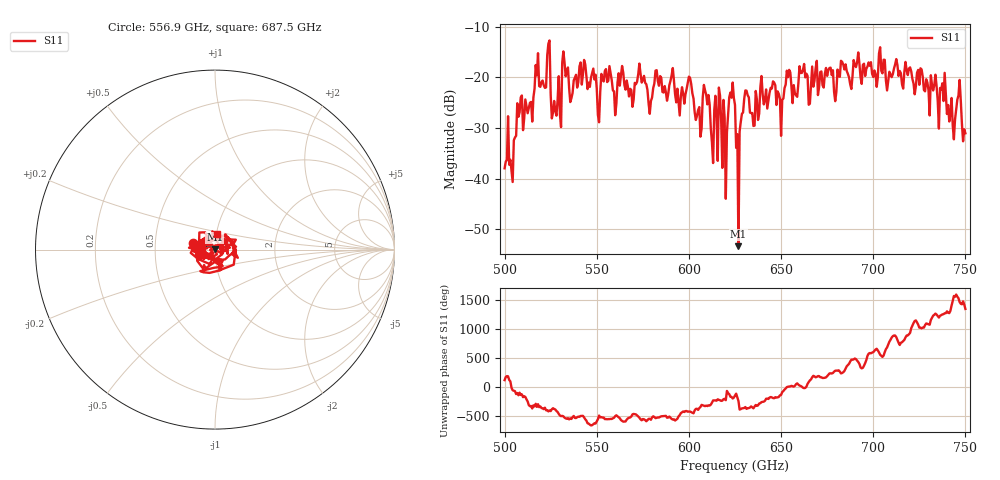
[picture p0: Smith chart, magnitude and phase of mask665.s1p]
!Created with skrf (http://scikit-rf.org).
# GHz S MA R 50.0
!freq magS11 angS11
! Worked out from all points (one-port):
!   401 points, 500 GHz to 750 GHz, reference 50 ohm
!   lowest |S11| = -53.3 dB at 626.9 GHz (marker M1), VSWR 1.00, Z = 49.9 + j0.19 ohm
!   |S11| at or under -10 dB: start of sweep to end of sweep
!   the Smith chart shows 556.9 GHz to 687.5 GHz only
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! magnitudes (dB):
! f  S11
! 500 GHz  -37.9
! 517.5 GHz  -19.6
! 523.8 GHz  -13.4
! 526.9 GHz  -24.7
! 531.2 GHz  -17.2
! 560 GHz  -27.5
! 562.5 GHz  -21.7
! 578.8 GHz  -27.2
! 590.6 GHz  -19.6
! 593.8 GHz  -22.3
! 600.6 GHz  -20.1
! 605.6 GHz  -25.9
! 609.4 GHz  -23.4
! 611.9 GHz  -30.1
! 617.5 GHz  -28.6
! 619.4 GHz  -28.0
! 623.1 GHz  -24.0
! 625 GHz  -25.5
! 626.9 GHz  -53.3
! 631.2 GHz  -22.7
! 634.4 GHz  -27.0
! 656.2 GHz  -25.1
! 687.5 GHz  -21.4
! 718.8 GHz  -19.6
! 738.1 GHz  -24.7
! 742.5 GHz  -24.1
! 746.2 GHz  -23.6
! 750 GHz  -31.0
